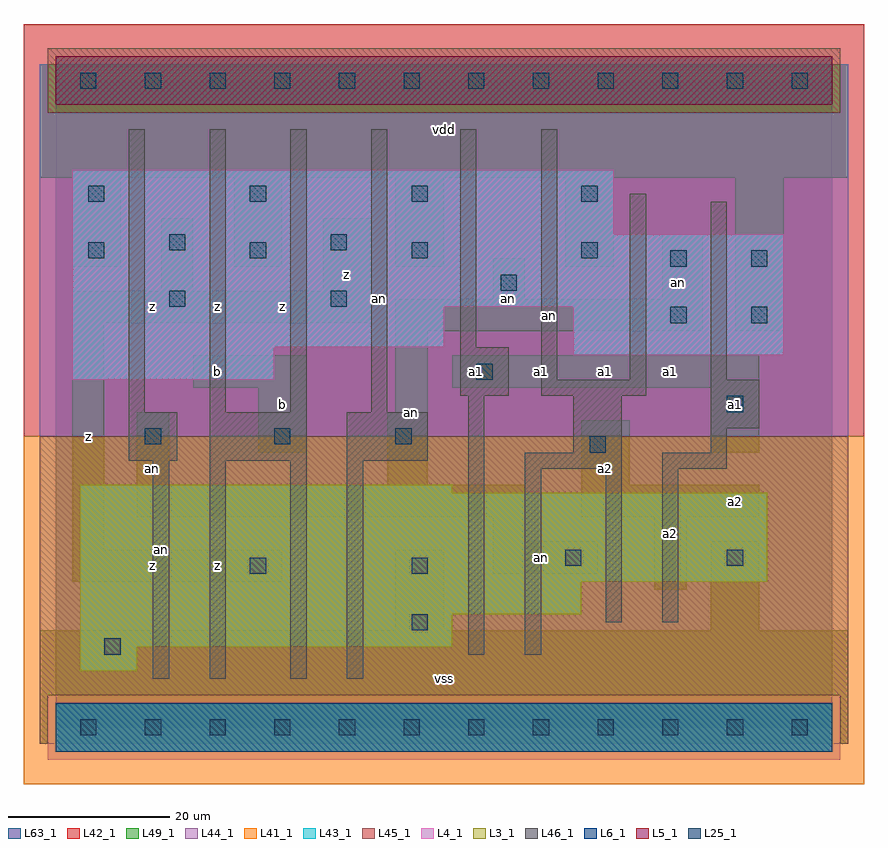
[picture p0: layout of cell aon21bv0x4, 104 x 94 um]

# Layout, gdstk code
import gdstk
lib = gdstk.Library(unit=1e-6, precision=1e-09)
def R(c, l, rs):  # rectangles x0, y0, x1, y1
    for r in rs: c.add(gdstk.rectangle(r[:2], r[2:], *l))
def A(c, l, x, y, w, h, nx, ny, dx, dy):  # array of equal rectangles
    R(c, l, [(x+i*dx, y+j*dy, x+i*dx+w, y+j*dy+h) for i in range(nx) for j in range(ny)])
L3_1 = (3, 1)
L4_1 = (4, 1)
L5_1 = (5, 1)
L6_1 = (6, 1)
L25_1 = (25, 1)
L41_1 = (41, 1)
L42_1 = (42, 1)
L43_1 = (43, 1)
L44_1 = (44, 1)
L45_1 = (45, 1)
L46_1 = (46, 1)
L49_1 = (49, 1)
L63_1 = (63, 1)

aon21bv0x4 = lib.new_cell('aon21bv0x4')
R(aon21bv0x4, L3_1, [(3,7,10,10), (3,10,49,14), (3,14,65,18), (3,18,88,29), (3,29,49,30)])
R(aon21bv0x4, L4_1, [(2,43,27,47), (64,46,90,52), (2,47,48,52), (2,52,90,61), (2,61,69,69)])
R(aon21bv0x4, L5_1, [(0,77,96,83)])
R(aon21bv0x4, L6_1, [(0,-3,96,3), (0,-3,96,3)])
A(aon21bv0x4, L25_1, 3, -1, 2, 2, 12, 2, 8, 80)
A(aon21bv0x4, L25_1, 4, 58, 2, 2, 3, 2, 20, 7)
R(aon21bv0x4, L25_1, [(6,9,8,11), (44,12,46,14), (24,19,26,21), (44,19,46,21), (63,20,65,22), (83,20,85,22), (66,34,68,36), (11,35,13,37), (27,35,29,37), (42,35,44,37), (83,39,85,41), (52,43,54,45), (76,50,78,52), (86,50,88,52), (14,52,16,54), (34,52,36,54), (55,54,57,56), (76,57,78,59), (86,57,88,59), (65,58,67,60), (14,59,16,61), (34,59,36,61), (65,65,67,67)])
R(aon21bv0x4, L41_1, [(-4,-7,100,36)])
R(aon21bv0x4, L42_1, [(-4,36,100,87)])
R(aon21bv0x4, L43_1, [(0,-3,96,3), (3,7,10,10), (3,10,49,14), (3,14,65,18), (3,18,88,29), (3,29,49,30), (2,43,27,47), (64,46,90,52), (2,47,48,52), (2,52,90,61), (2,61,69,69), (0,77,96,83)])
R(aon21bv0x4, L44_1, [(-1,-4,97,4), (-2,36,98,76), (-2,76,-1,82), (97,76,98,82)])
R(aon21bv0x4, L45_1, [(-2,-2,-1,4), (97,-2,98,4), (-2,4,98,36), (-1,76,97,84)])
A(aon21bv0x4, L46_1, 9, 39, 2, 35, 4, 1, 10, 0)
R(aon21bv0x4, L46_1, [(12,6,14,33), (19,6,21,33), (29,6,31,33), (36,6,38,33), (51,9,53,41), (58,9,60,32), (68,13,70,32), (75,13,77,32), (58,32,70,34), (75,32,83,34), (9,33,15,39), (19,33,31,39), (36,33,46,39), (64,34,70,41), (81,34,83,37), (81,37,87,43), (50,41,56,47), (60,41,73,43), (60,43,62,74), (71,43,73,66), (81,43,83,65), (50,47,52,74)])
A(aon21bv0x4, L49_1, 2, 57, 6, 11, 3, 1, 20, 0)
R(aon21bv0x4, L49_1, [(-2,-2,98,12), (42,12,48,22), (81,12,87,23), (74,17,78,26), (2,18,28,22), (54,19,67,23), (2,22,6,50), (54,23,58,26), (10,26,58,30), (65,26,87,30), (10,30,14,39), (41,30,46,39), (65,30,71,38), (25,34,31,42), (81,34,87,42), (42,39,46,49), (17,42,31,46), (49,42,87,46), (42,49,80,53), (84,49,90,68), (2,50,39,54), (54,53,58,58), (75,53,80,61), (13,54,17,63), (33,54,39,63), (63,57,69,68), (-2,68,98,82)])
R(aon21bv0x4, L63_1, [(0,0,96,80)])
aon21bv0x4.add(gdstk.Label('an', (13,22), layer=46, texttype=1))
aon21bv0x4.add(gdstk.Label('an', (40,53), layer=46, texttype=1))
aon21bv0x4.add(gdstk.Label('z', (12,20), layer=49, texttype=1))
aon21bv0x4.add(gdstk.Label('an', (12,32), layer=49, texttype=1))
aon21bv0x4.add(gdstk.Label('z', (4,36), layer=49, texttype=1))
aon21bv0x4.add(gdstk.Label('z', (12,52), layer=49, texttype=1))
aon21bv0x4.add(gdstk.Label('z', (20,20), layer=49, texttype=1))
aon21bv0x4.add(gdstk.Label('b', (20,44), layer=49, texttype=1))
aon21bv0x4.add(gdstk.Label('b', (28,40), layer=49, texttype=1))
aon21bv0x4.add(gdstk.Label('z', (28,52), layer=49, texttype=1))
aon21bv0x4.add(gdstk.Label('z', (20,52), layer=49, texttype=1))
aon21bv0x4.add(gdstk.Label('vss', (48,6), layer=49, texttype=1))
aon21bv0x4.add(gdstk.Label('a1', (52,44), layer=49, texttype=1))
aon21bv0x4.add(gdstk.Label('an', (56,53), layer=49, texttype=1))
aon21bv0x4.add(gdstk.Label('an', (44,39), layer=49, texttype=1))
aon21bv0x4.add(gdstk.Label('z', (36,56), layer=49, texttype=1))
aon21bv0x4.add(gdstk.Label('vdd', (48,74), layer=49, texttype=1))
aon21bv0x4.add(gdstk.Label('an', (60,21), layer=49, texttype=1))
aon21bv0x4.add(gdstk.Label('a2', (76,24), layer=49, texttype=1))
aon21bv0x4.add(gdstk.Label('a2', (68,32), layer=49, texttype=1))
aon21bv0x4.add(gdstk.Label('a1', (60,44), layer=49, texttype=1))
aon21bv0x4.add(gdstk.Label('a1', (68,44), layer=49, texttype=1))
aon21bv0x4.add(gdstk.Label('a1', (76,44), layer=49, texttype=1))
aon21bv0x4.add(gdstk.Label('a2', (84,28), layer=49, texttype=1))
aon21bv0x4.add(gdstk.Label('a1', (84,40), layer=49, texttype=1))
aon21bv0x4.add(gdstk.Label('an', (77,55), layer=49, texttype=1))
aon21bv0x4.add(gdstk.Label('an', (61,51), layer=49, texttype=1))

lib.write_gds('aon21bv0x4.gds')
